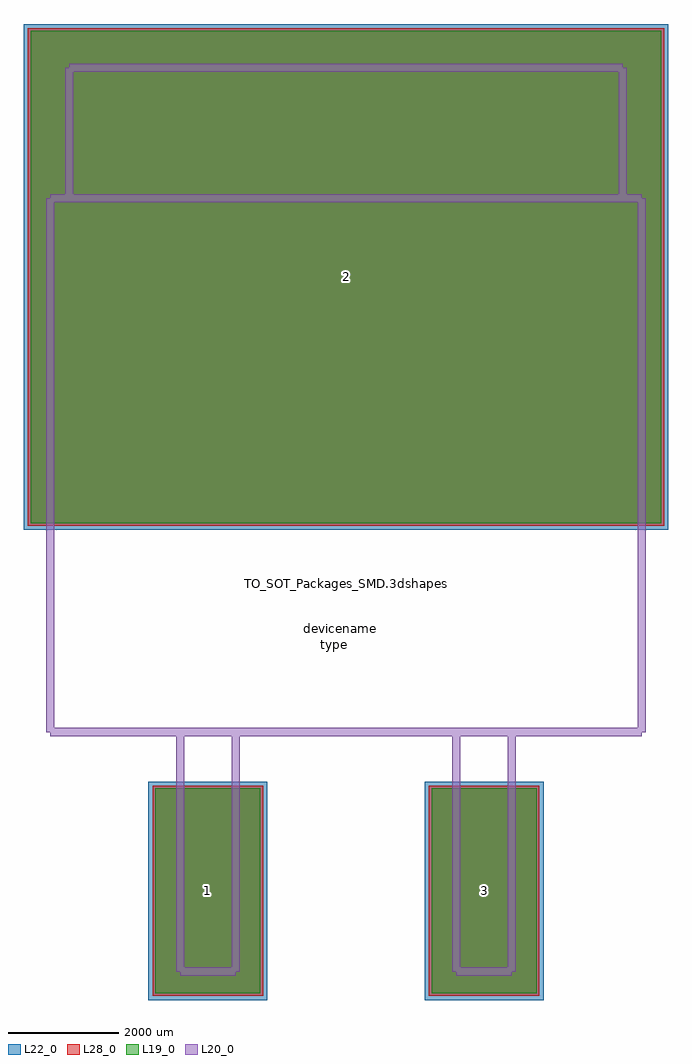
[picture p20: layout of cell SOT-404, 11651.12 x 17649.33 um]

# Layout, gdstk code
import gdstk
lib = gdstk.Library(unit=1e-6, precision=1e-09)
def R(c, l, rs):  # rectangles x0, y0, x1, y1
    for r in rs: c.add(gdstk.rectangle(r[:2], r[2:], *l))
L19_0 = (19, 0)
L20_0 = (20, 0)
L22_0 = (22, 0)
L28_0 = (28, 0)

sot_404 = lib.new_cell('SOT-404')
R(sot_404, L19_0, [(-3448.85,-7399.82,-1549.87,-3699.98), (1549.87,-7399.82,3448.85,-3699.98), (-5700.56,1100.29,5700.56,9999.51)])
R(sot_404, L22_0, [(-3573.85,-7524.82,-1424.87,-3574.98), (1424.87,-7524.82,3573.85,-3574.98), (-5825.56,975.29,5825.56,10124.51)])
R(sot_404, L28_0, [(-3498.85,-7449.82,-1499.87,-3649.98), (1499.87,-7449.82,3498.85,-3649.98), (-5750.56,1050.29,5750.56,10049.51)])
sot_404.add(gdstk.FlexPath([(-5346.7,-2679.7),(-5346.7,6972.3)], 149.998, ends="flush", simple_path=True, layer=20, datatype=0))  # L20_0
sot_404.add(gdstk.FlexPath([(5346.7,-2679.7),(-5346.7,-2679.7)], 149.998, ends="flush", simple_path=True, layer=20, datatype=0))  # L20_0
sot_404.add(gdstk.FlexPath([(5346.7,6972.3),(5346.7,-2679.7)], 149.998, ends="flush", simple_path=True, layer=20, datatype=0))  # L20_0
sot_404.add(gdstk.FlexPath([(-5346.7,6972.3),(5346.7,6972.3)], 149.998, ends="flush", simple_path=True, layer=20, datatype=0))  # L20_0
sot_404.add(gdstk.FlexPath([(-1993.9,-7010.4),(-1993.9,-2679.7)], 149.998, ends="flush", simple_path=True, layer=20, datatype=0))  # L20_0
sot_404.add(gdstk.FlexPath([(-2997.2,-7010.4),(-1993.9,-7010.4)], 149.998, ends="flush", simple_path=True, layer=20, datatype=0))  # L20_0
sot_404.add(gdstk.FlexPath([(-2997.2,-2679.7),(-2997.2,-7010.4)], 149.998, ends="flush", simple_path=True, layer=20, datatype=0))  # L20_0
sot_404.add(gdstk.FlexPath([(1993.9,-2679.7),(1993.9,-7010.4)], 149.998, ends="flush", simple_path=True, layer=20, datatype=0))  # L20_0
sot_404.add(gdstk.FlexPath([(1993.9,-7010.4),(2997.2,-7010.4)], 149.998, ends="flush", simple_path=True, layer=20, datatype=0))  # L20_0
sot_404.add(gdstk.FlexPath([(2997.2,-7010.4),(2997.2,-2679.7)], 149.998, ends="flush", simple_path=True, layer=20, datatype=0))  # L20_0
sot_404.add(gdstk.FlexPath([(5003.8,9334.5),(5003.8,6972.3)], 149.998, ends="flush", simple_path=True, layer=20, datatype=0))  # L20_0
sot_404.add(gdstk.FlexPath([(-5003.8,9334.5),(5003.8,9334.5)], 149.998, ends="flush", simple_path=True, layer=20, datatype=0))  # L20_0
sot_404.add(gdstk.FlexPath([(-5003.8,6972.3),(-5003.8,9334.5)], 149.998, ends="flush", simple_path=True, layer=20, datatype=0))  # L20_0
sot_404.add(gdstk.Label('TO_SOT_Packages_SMD.3dshapes/SOT-404.wrl', (0,0), layer=12, texttype=0))
sot_404.add(gdstk.Label('2', (0,5549.9), layer=28, texttype=0))
sot_404.add(gdstk.Label('3', (2499.36,-5549.9), layer=28, texttype=0))
sot_404.add(gdstk.Label('1', (-2499.36,-5549.9), layer=28, texttype=0))
sot_404.add(gdstk.Label('type', (-200.66,-1099.82), layer=9, texttype=0))
sot_404.add(gdstk.Label('devicename', (-99.06,-800.1), layer=9, texttype=0))

lib.write_gds('SOT-404.gds')
